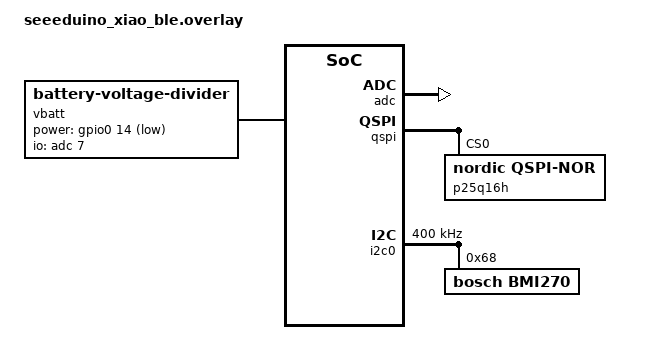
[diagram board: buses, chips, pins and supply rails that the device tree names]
/*
 * Copyright (c) 2021 The ZMK Contributors
 *
 * SPDX-License-Identifier: MIT
 */


/ {
    chosen {
        zmk,battery = &vbatt;
    };

    vbatt: vbatt {
        compatible = "zmk,battery-voltage-divider";
        io-channels = <&adc 7>;
        power-gpios = <&gpio0 14 (GPIO_OPEN_DRAIN | GPIO_ACTIVE_LOW)>;
        output-ohms = <510000>;
        full-ohms = <(1000000 + 510000)>;
    };
};

&xiao_serial { status = "disabled"; };

&adc {
    status = "okay";
};

&qspi {
    status = "okay";
    pinctrl-0 = <&qspi_default>;
    pinctrl-1 = <&qspi_sleep>;
    pinctrl-names = "default", "sleep";
    p25q16h: p25q16h@0 {
        compatible = "nordic,qspi-nor";
        reg = <0>;
        sck-frequency = <104000000>;
        quad-enable-requirements = "S2B1v1";
        jedec-id = [85 60 15];
        sfdp-bfp = [
            e5 20 f1 ff  ff ff ff 00  44 eb 08 6b  08 3b 80 bb
            ee ff ff ff  ff ff 00 ff  ff ff 00 ff  0c 20 0f 52
            10 d8 08 81
        ];
        size = <16777216>;
        has-dpd;
        t-enter-dpd = <3000>;
        t-exit-dpd = <8000>;
    };
};

// add for imu
&i2c0 {
    status = "okay";
    clock-frequency = <I2C_BITRATE_FAST>;
    bmi270@68 {
        compatible = "bosch,bmi270";
        reg = <0x68>;
        label = "BMI270";
        // int-gpios = <&gpio0 25 GPIO_ACTIVE_HIGH>; // 使わなければ省略可
    };
};
